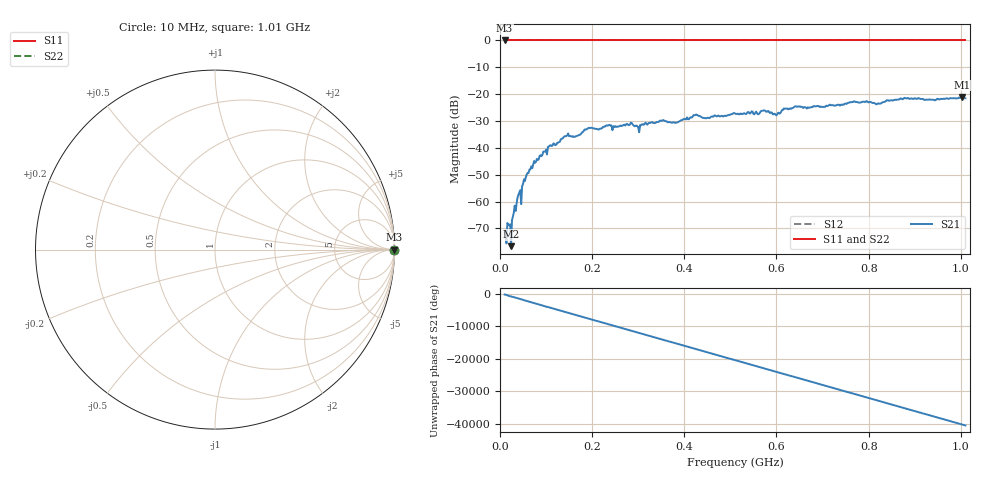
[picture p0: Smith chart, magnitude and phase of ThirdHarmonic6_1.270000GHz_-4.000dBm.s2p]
! 8/16/2025 1:43:37 PM
! C:\ANRITSUVNA\TEMP\TEMP.S2P
! CHANNEL.1
! TR.MEASUREMENT
! RAW.DATA
! RF.CORRECTION.OFF
! AVERAGING.OFF
! IF.BANDWIDTH: 5KHZ
! SWEEPTYPE:  FREQ.SWEEP(Linear)
! Reference Plane Port Info
! PORT:  PORT1  PORT2
! DISTANCE:  0  m  0  m
! TIME:  0  s  0  s
! PHASE.OFFSET:  0  deg.  0  deg.
! LOSS:  0  dB  0  dB
! REF.LOSS:  0  dB  0  dB
! REF.FREQ:  0  Hz  0  Hz
! Power Info
! POWER:  -20  dBm  -20  dBm
! EFF.POWER:  -20  dBm  -20  dBm
! SOURCE.ATTEN:  0  dB  0  dB
! TEST.ATTEN:  0  dB  0  dB
# GHZ S RI R 50.0
! FREQ.GHZ  S11RE  S11IM  S21RE  S21IM  S12RE  S12IM  S22RE  S22IM
!; PortSelection: Port_12
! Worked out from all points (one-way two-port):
!   501 points, 10 MHz to 1.01 GHz, reference 50 ohm
!   highest |S21| = -21.05 dB at 1.002 GHz (marker M1); lowest = -76.6 dB at 24 MHz (marker M2)
!   lowest |S11| = 0.0 dB at 10 MHz (marker M3)
!   |S11| at or under -10 dB: nowhere
!   |S22| runs from 0.0 to 0.0 dB; largest |S21 - S12| = 1.1
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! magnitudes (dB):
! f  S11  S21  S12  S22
! 10 MHz  0.0  -70.8  0.0  0.0
! 24 MHz  0.0  -76.6  0.0  0.0
! 40 MHz  0.0  -57.5  0.0  0.0
! 50 MHz  0.0  -53.4  0.0  0.0
! 56 MHz  0.0  -51.0  0.0  0.0
! 76 MHz  0.0  -45.6  0.0  0.0
! 108 MHz  0.0  -39.2  0.0  0.0
! 144 MHz  0.0  -35.6  0.0  0.0
! 178 MHz  0.0  -34.3  0.0  0.0
! 234 MHz  0.0  -31.7  0.0  0.0
! 286 MHz  0.0  -30.8  0.0  0.0
! 298 MHz  0.0  -32.0  0.0  0.0
! 344 MHz  0.0  -30.4  0.0  0.0
! 382 MHz  0.0  -30.6  0.0  0.0
! 510 MHz  0.0  -27.2  0.0  0.0
! 572 MHz  0.0  -26.1  0.0  0.0
! 598 MHz  0.0  -27.6  0.0  0.0
! 620 MHz  0.0  -25.3  0.0  0.0
! 678 MHz  0.0  -24.9  0.0  0.0
! 844 MHz  0.0  -22.5  0.0  0.0
! 1.002 GHz  0.0  -21.0  0.0  0.0
! 1.01 GHz  0.0  -21.5  0.0  0.0
